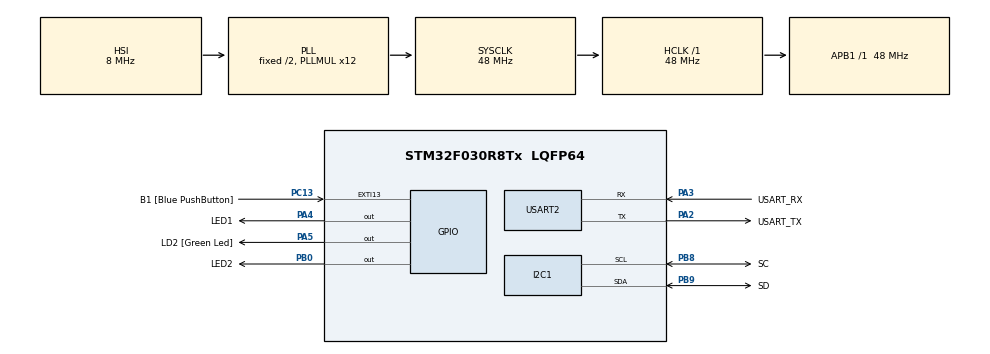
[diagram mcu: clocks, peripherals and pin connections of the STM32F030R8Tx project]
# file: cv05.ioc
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Dma.Request0=USART2_RX
Dma.USART2_RX.0.Direction=DMA_PERIPH_TO_MEMORY
Dma.USART2_RX.0.Instance=DMA1_Channel5
Dma.USART2_RX.0.MemDataAlignment=DMA_MDATAALIGN_BYTE
Dma.USART2_RX.0.MemInc=DMA_MINC_ENABLE
Dma.USART2_RX.0.Mode=DMA_CIRCULAR
Dma.USART2_RX.0.PeriphDataAlignment=DMA_PDATAALIGN_BYTE
Dma.USART2_RX.0.PeriphInc=DMA_PINC_DISABLE
Dma.USART2_RX.0.Priority=DMA_PRIORITY_LOW
Mcu.Family=STM32F0
Mcu.Name=STM32F030R8Tx
Mcu.Package=LQFP64
NVIC.DMA1_Channel4_5_IRQn=true\:0\:0\:false\:false\:true\:false\:true\:true
PA13.GPIO_Label=TMS
PA13.Mode=Serial_Wire
PA13.Signal=SYS_SWDIO
PA14.GPIO_Label=TCK
PA14.Mode=Serial_Wire
PA14.Signal=SYS_SWCLK
PA2.GPIO_Label=USART_TX
PA2.GPIO_Mode=GPIO_MODE_AF_PP
PA2.GPIO_PuPd=GPIO_NOPULL
PA2.GPIO_Speed=GPIO_SPEED_FREQ_LOW
PA2.Mode=Asynchronous
PA2.Signal=USART2_TX
PA3.GPIO_Label=USART_RX
PA3.GPIO_Mode=GPIO_MODE_AF_PP
PA3.GPIO_PuPd=GPIO_NOPULL
PA3.GPIO_Speed=GPIO_SPEED_FREQ_LOW
PA3.Mode=Asynchronous
PA3.Signal=USART2_RX
PA4.GPIO_Label=LED1
PA4.Signal=GPIO_Output
PA5.GPIO_Label=LD2 [Green Led]
PA5.GPIO_Mode=GPIO_MODE_OUTPUT_PP
PA5.GPIO_PuPd=GPIO_NOPULL
PA5.GPIO_Speed=GPIO_SPEED_FREQ_LOW
PA5.Signal=GPIO_Output
PB0.GPIO_Label=LED2
PB0.Signal=GPIO_Output
PB8.GPIO_Label=SC
PB8.Mode=I2C
PB8.Signal=I2C1_SCL
PB9.GPIO_Label=SD
PB9.Mode=I2C
PB9.Signal=I2C1_SDA
PC13.GPIO_Label=B1 [Blue PushButton]
PC13.GPIO_ModeDefaultEXTI=GPIO_MODE_IT_FALLING
PC13.Signal=GPXTI13
PC14-OSC32_IN.Mode=LSE-External-Oscillator
PC14-OSC32_IN.Signal=RCC_OSC32_IN
PC15-OSC32_OUT.Mode=LSE-External-Oscillator
PC15-OSC32_OUT.Signal=RCC_OSC32_OUT
PF0-OSC_IN.Mode=HSE-External-Clock-Source
PF0-OSC_IN.Signal=RCC_OSC_IN
PF1-OSC_OUT.Signal=RCC_OSC_OUT
ProjectManager.HeapSize=0x200
ProjectManager.StackSize=0x400
ProjectManager.TargetToolchain=STM32CubeIDE
RCC.AHBFreq_Value=48000000
RCC.APB1Freq_Value=48000000
RCC.APB1TimFreq_Value=48000000
RCC.HCLKFreq_Value=48000000
RCC.PLLMUL=RCC_PLL_MUL12
RCC.SYSCLKFreq_VALUE=48000000
RCC.SYSCLKSource=RCC_SYSCLKSOURCE_PLLCLK
USART2.VirtualMode-Asynchronous=VM_ASYNC
board=NUCLEO-F030R8

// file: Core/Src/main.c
/* USER CODE BEGIN Header */
/**
  ******************************************************************************
  * @file           : main.c
  * @brief          : Main program body
  ******************************************************************************
  * @attention
  *
  * Copyright (c) 2022 STMicroelectronics.
  * All rights reserved.
  *
  * This software is licensed under terms that can be found in the LICENSE file
  * in the root directory of this software component.
  * If no LICENSE file comes with this software, it is provided AS-IS.
  *
  ******************************************************************************
  */
/* USER CODE END Header */
#include "main.h"

/* USER CODE BEGIN Includes */
#include <stdio.h>
#include <string.h>
#include <stdlib.h>
/* USER CODE END Includes */

/* USER CODE BEGIN PD */
#define RX_BUFFER_LEN 64
#define CMD_BUFFER_LEN 256
#define EEPROM_ADDR 0xA0
//#define I2C_MEMADD_SIZE_16BIT 16

/* USER CODE END PD */

/* USER CODE BEGIN PM */
#define uart_rx_write_ptr (RX_BUFFER_LEN - hdma_usart2_rx.Instance->CNDTR)

/* USER CODE END PM */

I2C_HandleTypeDef hi2c1;

UART_HandleTypeDef huart2;
DMA_HandleTypeDef hdma_usart2_rx;

void SystemClock_Config(void);
static void MX_GPIO_Init(void);
static void MX_DMA_Init(void);
static void MX_USART2_UART_Init(void);
static void MX_I2C1_Init(void);

/* USER CODE BEGIN 0 */
int _write(int file, char const *buf, int n);
static void uart_byte_available(uint8_t c);
static void uart_process_command(char *cmd);

static uint8_t uart_rx_buf[RX_BUFFER_LEN];
static volatile uint16_t uart_rx_read_ptr = 0;

/* USER CODE END 0 */

int main(void)
{

  /* MCU Configuration--------------------------------------------------------*/

  /* Reset of all peripherals, Initializes the Flash interface and the Systick. */
  HAL_Init();

  /* USER CODE BEGIN Init */
  MX_I2C1_Init();

  /* USER CODE END Init */

  /* Configure the system clock */
  SystemClock_Config();

  /* Initialize all configured peripherals */
  MX_GPIO_Init();
  MX_DMA_Init();
  MX_USART2_UART_Init();
  MX_I2C1_Init();
  /* USER CODE BEGIN 2 */
  HAL_UART_Receive_DMA(&huart2, uart_rx_buf, RX_BUFFER_LEN);
  /* USER CODE END 2 */

  /* Infinite loop */
  /* USER CODE BEGIN WHILE */
  while (1)
  {
	  /*
      uint8_t c;
	  HAL_UART_Receive(&huart2, &c, 1, HAL_MAX_DELAY);
	  HAL_UART_Transmit(&huart2, &c, 1, HAL_MAX_DELAY);
*/
	  while (uart_rx_read_ptr != uart_rx_write_ptr) {
	      uint8_t b = uart_rx_buf[uart_rx_read_ptr];
	  	  if (++uart_rx_read_ptr >= RX_BUFFER_LEN) uart_rx_read_ptr = 0; // increase read pointer
	  	  uart_byte_available(b); // process every received byte with the RX state machine
	  }

    /* USER CODE END WHILE */

  }
}

void SystemClock_Config(void)
{
  RCC_OscInitTypeDef RCC_OscInitStruct = {0};
  RCC_ClkInitTypeDef RCC_ClkInitStruct = {0};
  RCC_PeriphCLKInitTypeDef PeriphClkInit = {0};

  /** Initializes the RCC Oscillators according to the specified parameters
  * in the RCC_OscInitTypeDef structure.
  */
  RCC_OscInitStruct.OscillatorType = RCC_OSCILLATORTYPE_HSI;
  RCC_OscInitStruct.HSIState = RCC_HSI_ON;
  RCC_OscInitStruct.HSICalibrationValue = RCC_HSICALIBRATION_DEFAULT;
  RCC_OscInitStruct.PLL.PLLState = RCC_PLL_ON;
  RCC_OscInitStruct.PLL.PLLSource = RCC_PLLSOURCE_HSI;
  RCC_OscInitStruct.PLL.PLLMUL = RCC_PLL_MUL12;
  RCC_OscInitStruct.PLL.PREDIV = RCC_PREDIV_DIV1;
  if (HAL_RCC_OscConfig(&RCC_OscInitStruct) != HAL_OK)
  {
    Error_Handler();
  }

  /** Initializes the CPU, AHB and APB buses clocks
  */
  RCC_ClkInitStruct.ClockType = RCC_CLOCKTYPE_HCLK|RCC_CLOCKTYPE_SYSCLK
                              |RCC_CLOCKTYPE_PCLK1;
  RCC_ClkInitStruct.SYSCLKSource = RCC_SYSCLKSOURCE_PLLCLK;
  RCC_ClkInitStruct.AHBCLKDivider = RCC_SYSCLK_DIV1;
  RCC_ClkInitStruct.APB1CLKDivider = RCC_HCLK_DIV1;

  if (HAL_RCC_ClockConfig(&RCC_ClkInitStruct, FLASH_LATENCY_1) != HAL_OK)
  {
    Error_Handler();
  }
  PeriphClkInit.PeriphClockSelection = RCC_PERIPHCLK_I2C1;
  PeriphClkInit.I2c1ClockSelection = RCC_I2C1CLKSOURCE_HSI;
  if (HAL_RCCEx_PeriphCLKConfig(&PeriphClkInit) != HAL_OK)
  {
    Error_Handler();
  }
}

static void MX_I2C1_Init(void)
{

  hi2c1.Instance = I2C1;
  hi2c1.Init.Timing = 0x2000090E;
  hi2c1.Init.OwnAddress1 = 0;
  hi2c1.Init.AddressingMode = I2C_ADDRESSINGMODE_7BIT;
  hi2c1.Init.DualAddressMode = I2C_DUALADDRESS_DISABLE;
  hi2c1.Init.OwnAddress2 = 0;
  hi2c1.Init.OwnAddress2Masks = I2C_OA2_NOMASK;
  hi2c1.Init.GeneralCallMode = I2C_GENERALCALL_DISABLE;
  hi2c1.Init.NoStretchMode = I2C_NOSTRETCH_DISABLE;
  if (HAL_I2C_Init(&hi2c1) != HAL_OK)
  {
    Error_Handler();
  }

  /** Configure Analogue filter
  */
  if (HAL_I2CEx_ConfigAnalogFilter(&hi2c1, I2C_ANALOGFILTER_ENABLE) != HAL_OK)
  {
    Error_Handler();
  }

  /** Configure Digital filter
  */
  if (HAL_I2CEx_ConfigDigitalFilter(&hi2c1, 0) != HAL_OK)
  {
    Error_Handler();
  }

}

static void MX_USART2_UART_Init(void)
{

  huart2.Instance = USART2;
  huart2.Init.BaudRate = 38400;
  huart2.Init.WordLength = UART_WORDLENGTH_8B;
  huart2.Init.StopBits = UART_STOPBITS_1;
  huart2.Init.Parity = UART_PARITY_NONE;
  huart2.Init.Mode = UART_MODE_TX_RX;
  huart2.Init.HwFlowCtl = UART_HWCONTROL_NONE;
  huart2.Init.OverSampling = UART_OVERSAMPLING_16;
  huart2.Init.OneBitSampling = UART_ONE_BIT_SAMPLE_DISABLE;
  huart2.AdvancedInit.AdvFeatureInit = UART_ADVFEATURE_NO_INIT;
  if (HAL_UART_Init(&huart2) != HAL_OK)
  {
    Error_Handler();
  }

}

static void MX_DMA_Init(void)
{

  /* DMA controller clock enable */
  __HAL_RCC_DMA1_CLK_ENABLE();

  /* DMA interrupt init */
  /* DMA1_Channel4_5_IRQn interrupt configuration */
  HAL_NVIC_SetPriority(DMA1_Channel4_5_IRQn, 0, 0);
  HAL_NVIC_EnableIRQ(DMA1_Channel4_5_IRQn);

}

static void MX_GPIO_Init(void)
{
  GPIO_InitTypeDef GPIO_InitStruct = {0};

  /* GPIO Ports Clock Enable */
  __HAL_RCC_GPIOC_CLK_ENABLE();
  __HAL_RCC_GPIOF_CLK_ENABLE();
  __HAL_RCC_GPIOA_CLK_ENABLE();
  __HAL_RCC_GPIOB_CLK_ENABLE();

  /*Configure GPIO pin Output Level */
  HAL_GPIO_WritePin(GPIOA, GPIO_PIN_4|GPIO_PIN_5, GPIO_PIN_RESET);

  /*Configure GPIO pin Output Level */
  HAL_GPIO_WritePin(GPIOB, GPIO_PIN_0, GPIO_PIN_RESET);

  /*Configure GPIO pin : PC13 */
  GPIO_InitStruct.Pin = GPIO_PIN_13;
  GPIO_InitStruct.Mode = GPIO_MODE_IT_FALLING;
  GPIO_InitStruct.Pull = GPIO_NOPULL;
  HAL_GPIO_Init(GPIOC, &GPIO_InitStruct);

  /*Configure GPIO pins : PA4 PA5 */
  GPIO_InitStruct.Pin = GPIO_PIN_4|GPIO_PIN_5;
  GPIO_InitStruct.Mode = GPIO_MODE_OUTPUT_PP;
  GPIO_InitStruct.Pull = GPIO_NOPULL;
  GPIO_InitStruct.Speed = GPIO_SPEED_FREQ_LOW;
  HAL_GPIO_Init(GPIOA, &GPIO_InitStruct);

  /*Configure GPIO pin : PB0 */
  GPIO_InitStruct.Pin = GPIO_PIN_0;
  GPIO_InitStruct.Mode = GPIO_MODE_OUTPUT_PP;
  GPIO_InitStruct.Pull = GPIO_NOPULL;
  GPIO_InitStruct.Speed = GPIO_SPEED_FREQ_LOW;
  HAL_GPIO_Init(GPIOB, &GPIO_InitStruct);

}

/* USER CODE BEGIN 4 */
int _write(int file, char const *buf, int n)
{
 /* stdout redirection to UART2 */
 HAL_UART_Transmit(&huart2, (uint8_t*)(buf), n, HAL_MAX_DELAY);
 return n;
}

static void uart_process_command(char *cmd){
	printf("Prijato: %s\n", cmd);
	char *token;
	token = strtok(cmd, " ");

	if (strcasecmp(token, "HELLO") == 0) {
		printf("Komunikace OK\n");
	}
	else if (strcasecmp(token, "LED1") == 0) {
		token = strtok(NULL, " ");
		if (strcasecmp(token, "ON") == 0) {
			HAL_GPIO_WritePin(LED1_GPIO_Port, LED1_Pin, 1);
		}
		else if (strcasecmp(token, "OFF") == 0) {
			HAL_GPIO_WritePin(LED1_GPIO_Port, LED1_Pin, 0);
		}
		printf("OK\n");
	}
	else if (strcasecmp(token, "LED2") == 0) {
		token = strtok(NULL, " ");
		if (strcasecmp(token, "ON") == 0) {
			HAL_GPIO_WritePin(LED2_GPIO_Port, LED2_Pin, 1);
		}
		else if (strcasecmp(token, "OFF") == 0) {
			HAL_GPIO_WritePin(LED2_GPIO_Port, LED2_Pin, 0);
		}
		printf("OK\n");
	}
	else if (strcasecmp(token, "STATUS") == 0) {
		if (HAL_GPIO_ReadPin(LED1_GPIO_Port, LED1_Pin) == 1) {
			printf("LED1 is ON\n");
		}
		else {
			printf("LED1 is OFF\n");
		}
		if (HAL_GPIO_ReadPin(LED2_GPIO_Port, LED2_Pin) == 1) {
			printf("LED2 is ON\n");
		}
		else {
			printf("LED2 is OFF\n");
		}
	}

	else if (strcasecmp(token, "READ") == 0) {
		uint8_t value;
		token = strtok(NULL, " ");
		uint16_t addr = atoi(token); //str2num
		HAL_I2C_Mem_Read(&hi2c1, EEPROM_ADDR, addr, I2C_MEMADD_SIZE_16BIT, &value, 1, 1000);
		printf("Adresa 0x%04x = 0x%02x\n", addr, value);
	}
	else if (strcasecmp(token, "WRITE") == 0) {
		token = strtok(NULL, " ");
		uint16_t addr = atoi(token); //str2num
		token = strtok(NULL, " ");
		uint8_t value = atoi(token);
		HAL_I2C_Mem_Write(&hi2c1, EEPROM_ADDR, addr, I2C_MEMADD_SIZE_16BIT, &value, 1, 1000);
		/* Check if the EEPROM is ready for a new operation */
		while (HAL_I2C_IsDeviceReady(&hi2c1, EEPROM_ADDR, 300, 1000) == HAL_TIMEOUT) {}
		printf("Hotovo\n");
	}
	else if (strcasecmp(token, "DUMP") == 0) {
		uint8_t value;// = atoi(token);
		for(uint8_t addr = 1; addr<=16; addr++){
			HAL_I2C_Mem_Read(&hi2c1, EEPROM_ADDR, addr, I2C_MEMADD_SIZE_16BIT, &value, 1, 1000);
			printf("%02X\n", value);
		}

	}
}

static void uart_byte_available(uint8_t c)
{
 static uint16_t cnt;
 static char data[CMD_BUFFER_LEN];
 if (cnt < CMD_BUFFER_LEN && c >= 32 && c <= 126) data[cnt++] = c;
 if ((c == '\n' || c == '\r') && cnt > 0) {
 data[cnt] = '\0';
 uart_process_command(data);
 cnt = 0;
 }
}

/* USER CODE END 4 */

void Error_Handler(void)
{
  __disable_irq();
  while (1)
  {
  }
}
